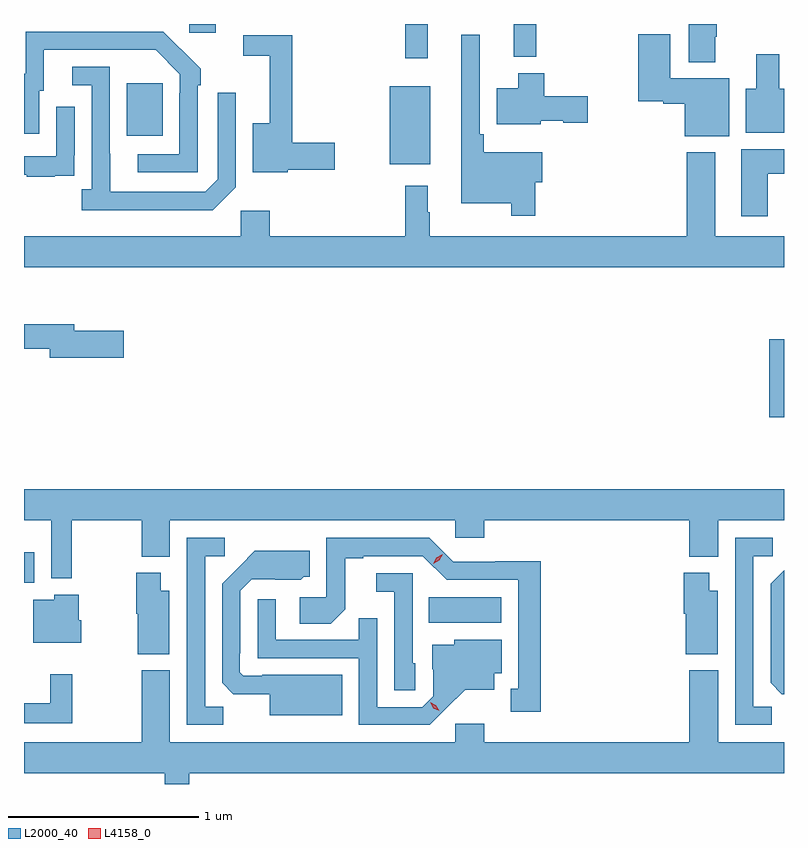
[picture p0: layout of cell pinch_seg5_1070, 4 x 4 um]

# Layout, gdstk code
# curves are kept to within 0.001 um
import gdstk
lib = gdstk.Library(unit=1e-6, precision=1e-09)
def R(c, l, rs):  # rectangles x0, y0, x1, y1
    for r in rs: c.add(gdstk.rectangle(r[:2], r[2:], *l))
def P(c, l, *ps):  # polygons
    for p in ps: c.add(gdstk.Polygon(p, *l))
L2000_40 = (2000, 40)
L4158_0 = (4158, 0)

pinch_seg5_1070 = lib.new_cell('pinch_seg5_1070')
R(pinch_seg5_1070, L2000_40, [(793.156,872.204,793.537,872.338), (791.026,872.414,791.08,872.575), (794.948,873.287,795.026,873.697), (792.95,874.619,793.165,875.029), (791.567,874.769,791.755,875.044), (793.033,875.175,793.151,875.356), (793.604,875.183,793.721,875.356), (791.895,875.31,792.034,875.356)])
P(pinch_seg5_1070, L2000_40, [(794.665,875.288),(794.673,875.288),(794.673,875.356),(794.525,875.356),(794.525,875.156),(794.665,875.156)],
  [(791.94,875.033),(791.955,875.033),(791.955,875.121),(791.758,875.316),(791.034,875.316),(791.034,875.094),(791.026,875.094),(791.026,874.779),(791.107,874.779),(791.107,875.004),(791.131,875.004),(791.131,875.22),(791.719,875.22),(791.847,875.091),(791.847,874.991),(791.844,874.991),(791.844,874.671),(791.625,874.671),(791.625,874.575),(791.94,874.575)],
  [(794.737,875.071),(794.428,875.071),(794.428,875.302),(794.258,875.302),(794.258,874.949),(794.391,874.949),(794.391,874.937),(794.504,874.937),(794.504,874.766),(794.737,874.766)],
  [(793.718,874.523),(793.753,874.523),(793.753,874.681),(793.445,874.681),(793.445,874.777),(793.425,874.777),(793.425,875.299),(793.328,875.299),(793.328,874.412),(793.59,874.412),(793.59,874.347),(793.718,874.347)],
  [(792.414,874.588),(792.661,874.588),(792.661,874.73),(792.437,874.73),(792.437,875.298),(792.18,875.298),(792.18,875.19),(792.32,875.19),(792.32,874.834),(792.23,874.834),(792.23,874.577),(792.414,874.577)],
  [(795.026,875.014),(795.001,875.014),(795.001,875.197),(794.879,875.197),(794.879,875.014),(794.825,875.014),(794.825,874.784),(795.026,874.784)],
  [(792.141,874.497),(792.141,874.993),(792.045,874.993),(792.045,874.539),(791.979,874.473),(791.479,874.473),(791.478,875.13),(791.28,875.13),(791.28,875.034),(791.382,875.034),(791.382,874.486),(791.331,874.486),(791.331,874.376),(792.02,874.376)],
  [(793.746,874.847),(793.863,874.847),(793.863,874.835),(793.993,874.835),(793.993,874.977),(793.763,874.977),(793.763,875.098),(793.628,875.098),(793.628,875.017),(793.514,875.017),(793.514,874.829),(793.746,874.829)],
  [(791.189,874.557),(791.291,874.557),(791.291,874.666),(791.292,874.666),(791.292,874.921),(791.196,874.921),(791.196,874.659),(791.026,874.659),(791.026,874.563),(791.041,874.563),(791.041,874.551),(791.189,874.551)],
  [(794.941,874.568),(795.026,874.568),(795.026,874.696),(794.801,874.696),(794.801,874.344),(794.941,874.344)],
  [(793.033,874.504),(793.033,874.24),(792.32,874.24),(792.32,874.372),(792.168,874.372),(792.168,874.24),(791.026,874.24),(791.026,874.076),(795.026,874.076),(795.026,874.24),(794.665,874.24),(794.665,874.681),(794.513,874.681),(794.513,874.24),(793.162,874.24),(793.162,874.364),(793.15,874.364),(793.15,874.504)],
  [(791.551,873.741),(791.29,873.741),(791.29,873.775),(791.026,873.775),(791.026,873.646),(791.162,873.646),(791.162,873.599),(791.551,873.599)],
  [(791.278,872.744),(791.647,872.744),(791.647,872.552),(791.794,872.552),(791.794,872.744),(793.296,872.744),(793.296,872.651),(793.448,872.651),(793.448,872.744),(794.528,872.744),(794.528,872.552),(794.68,872.552),(794.68,872.744),(795.026,872.744),(795.026,872.908),(791.026,872.908),(791.026,872.744),(791.169,872.744),(791.169,872.438),(791.278,872.438)],
  [(792.075,871.763),(791.979,871.763),(791.979,872.556),(792.082,872.556),(792.082,872.652),(791.883,872.652),(791.883,871.668),(792.075,871.668)],
  [(794.961,871.763),(794.865,871.763),(794.865,872.556),(794.968,872.556),(794.968,872.652),(794.769,872.652),(794.769,871.668),(794.961,871.668)],
  [(793.747,872.528),(793.506,872.528),(793.506,872.526),(793.284,872.526),(793.158,872.652),(792.618,872.652),(792.618,872.34),(792.477,872.34),(792.477,872.2),(792.641,872.2),(792.717,872.276),(792.717,872.544),(792.811,872.544),(792.811,872.556),(793.125,872.556),(793.251,872.43),(793.628,872.43),(793.628,871.857),(793.589,871.857),(793.589,871.737),(793.747,871.737)],
  [(792.7,871.93),(792.28,871.93),(792.28,871.926),(792.18,871.926),(792.162,871.944),(792.162,872.044),(792.165,872.044),(792.165,872.373),(792.225,872.433),(792.482,872.432),(792.498,872.448),(792.529,872.448),(792.529,872.584),(792.241,872.584),(792.069,872.41),(792.069,871.888),(792.128,871.829),(792.32,871.829),(792.32,871.718),(792.7,871.718)],
  [(795.026,872.482),(794.955,872.41),(794.955,871.888),(795.014,871.829),(795.026,871.829)],
  [(791.791,872.374),(791.746,872.374),(791.746,872.467),(791.617,872.467),(791.617,872.253),(791.624,872.253),(791.624,872.039),(791.791,872.039)],
  [(794.677,872.374),(794.632,872.374),(794.632,872.467),(794.498,872.467),(794.498,872.253),(794.51,872.253),(794.51,872.039),(794.677,872.039)],
  [(793.086,871.992),(793.071,871.992),(793.071,872.466),(792.879,872.466),(792.879,872.369),(792.975,872.369),(792.975,871.849),(793.086,871.849)],
  [(791.328,872.217),(791.313,872.217),(791.313,872.353),(791.184,872.353),(791.184,872.326),(791.075,872.326),(791.075,872.099),(791.328,872.099)],
  [(793.246,871.751),(793.349,871.853),(793.501,871.853),(793.501,871.94),(793.54,871.94),(793.54,872.116),(793.29,872.116),(793.29,872.089),(793.175,872.089),(793.175,871.96),(793.179,871.96),(793.179,871.818),(793.122,871.761),(792.885,871.761),(792.885,872.228),(792.787,872.228),(792.787,872.115),(792.351,872.115),(792.351,872.329),(792.255,872.329),(792.255,872.019),(792.789,872.019),(792.789,871.668),(793.162,871.668)],
  [(791.897,871.412),(795.026,871.412),(795.026,871.576),(794.68,871.576),(794.68,871.954),(794.528,871.954),(794.528,871.576),(793.448,871.576),(793.448,871.672),(793.296,871.672),(793.296,871.576),(791.794,871.576),(791.794,871.954),(791.647,871.954),(791.647,871.576),(791.026,871.576),(791.026,871.412),(791.768,871.412),(791.768,871.356),(791.897,871.356)],
  [(791.279,871.933),(791.165,871.933),(791.165,871.78),(791.026,871.78),(791.026,871.676),(791.279,871.676)])
P(pinch_seg5_1070, L4158_0, [(793.211,871.741),(793.181,871.756),(793.163,871.785),(793.163,871.786),(793.164,871.786),(793.194,871.771),(793.211,871.741),(793.211,871.741)],
  [(793.179,872.515),(793.179,872.516),(793.197,872.548),(793.229,872.566),(793.229,872.566),(793.229,872.566),(793.211,872.534),(793.179,872.515)])

lib.write_gds('pinch_seg5_1070.gds')
